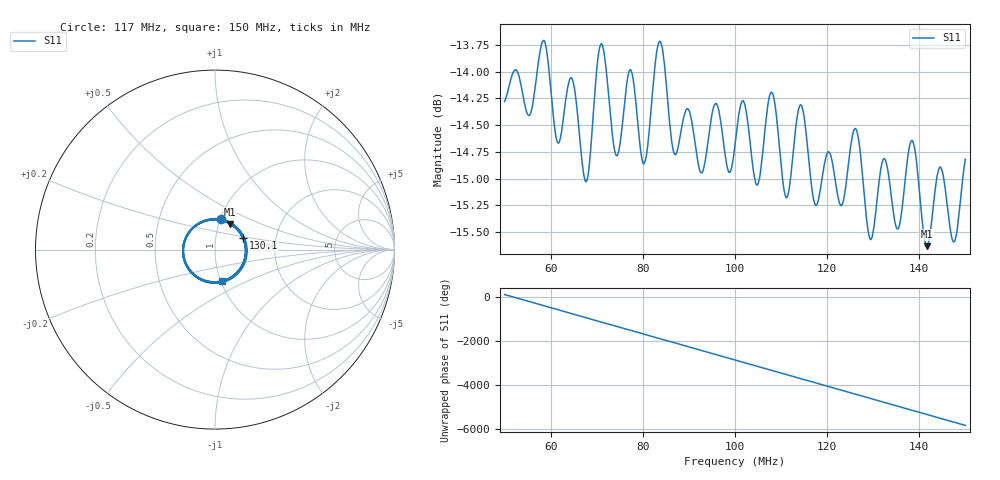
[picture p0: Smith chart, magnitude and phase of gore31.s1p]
! COPPER MOUNTAIN TECHNOLOGIES, PLANAR TR1300/1, 00090118, 19.1.1/1.0
! Date: 11/26/2019 3:54:39 PM
! Data: Format [Calibration Info]
! Freq  S11: Re/Im F1
# HZ S RI R 50
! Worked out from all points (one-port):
!   2001 points, 50 MHz to 150 MHz, reference 50 ohm
!   lowest |S11| = -15.6 dB at 141.7 MHz (marker M1), VSWR 1.40, Z = 56.5 + j16.6 ohm
!   |S11| at or under -10 dB: start of sweep to end of sweep
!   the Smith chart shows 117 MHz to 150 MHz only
!   S11 on the Smith chart (normalised r, x): 117 MHz: 1.00, +0.35; 130.1 MHz: 1.36, +0.18; 150 MHz: 1.02, -0.37
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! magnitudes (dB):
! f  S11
! 50 MHz  -14.3
! 55.45 MHz  -14.4
! 58.5 MHz  -13.7
! 62.5 MHz  -14.5
! 64.65 MHz  -14.1
! 67.8 MHz  -15.0
! 71.05 MHz  -13.7
! 75 MHz  -14.7
! 77.35 MHz  -14.0
! 80.45 MHz  -14.8
! 83.7 MHz  -13.7
! 87.5 MHz  -14.7
! 100 MHz  -14.7
! 101.9 MHz  -14.3
! 104.9 MHz  -15.1
! 108 MHz  -14.2
! 110.9 MHz  -15.2
! 112.5 MHz  -14.8
! 114.5 MHz  -14.3
! 117 MHz  -15.2
! 125 MHz  -14.7
! 130.1 MHz  -15.5
! 135.5 MHz  -15.5
! 137.5 MHz  -14.8
! 141.7 MHz  -15.6
! 144.5 MHz  -14.9
! 147.7 MHz  -15.6
! 150 MHz  -14.8
